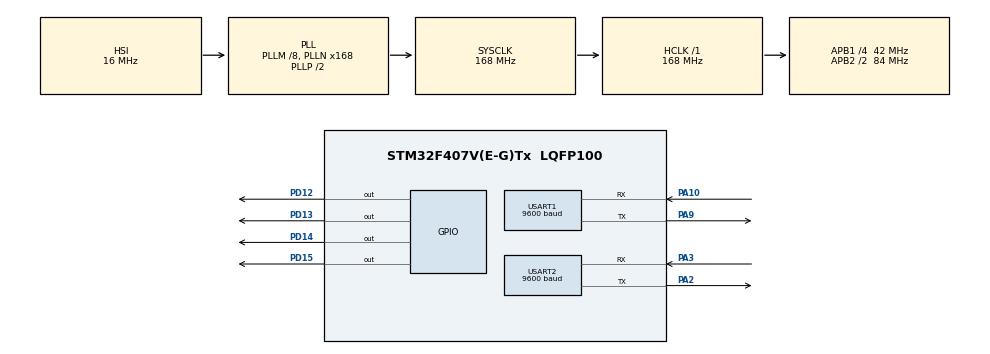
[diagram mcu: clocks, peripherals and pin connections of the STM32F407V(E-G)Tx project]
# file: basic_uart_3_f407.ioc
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Dma.Request0=USART2_RX
Dma.Request1=USART2_TX
Dma.Request2=USART1_RX
Dma.Request3=USART1_TX
Dma.USART1_RX.2.Direction=DMA_PERIPH_TO_MEMORY
Dma.USART1_RX.2.FIFOMode=DMA_FIFOMODE_DISABLE
Dma.USART1_RX.2.Instance=DMA2_Stream2
Dma.USART1_RX.2.MemDataAlignment=DMA_MDATAALIGN_BYTE
Dma.USART1_RX.2.MemInc=DMA_MINC_ENABLE
Dma.USART1_RX.2.Mode=DMA_NORMAL
Dma.USART1_RX.2.PeriphDataAlignment=DMA_PDATAALIGN_BYTE
Dma.USART1_RX.2.PeriphInc=DMA_PINC_DISABLE
Dma.USART1_RX.2.Priority=DMA_PRIORITY_MEDIUM
Dma.USART1_TX.3.Direction=DMA_MEMORY_TO_PERIPH
Dma.USART1_TX.3.FIFOMode=DMA_FIFOMODE_DISABLE
Dma.USART1_TX.3.Instance=DMA2_Stream7
Dma.USART1_TX.3.MemDataAlignment=DMA_MDATAALIGN_BYTE
Dma.USART1_TX.3.MemInc=DMA_MINC_ENABLE
Dma.USART1_TX.3.Mode=DMA_NORMAL
Dma.USART1_TX.3.PeriphDataAlignment=DMA_PDATAALIGN_BYTE
Dma.USART1_TX.3.PeriphInc=DMA_PINC_DISABLE
Dma.USART1_TX.3.Priority=DMA_PRIORITY_MEDIUM
Dma.USART2_RX.0.Direction=DMA_PERIPH_TO_MEMORY
Dma.USART2_RX.0.FIFOMode=DMA_FIFOMODE_DISABLE
Dma.USART2_RX.0.Instance=DMA1_Stream5
Dma.USART2_RX.0.MemDataAlignment=DMA_MDATAALIGN_BYTE
Dma.USART2_RX.0.MemInc=DMA_MINC_ENABLE
Dma.USART2_RX.0.Mode=DMA_NORMAL
Dma.USART2_RX.0.PeriphDataAlignment=DMA_PDATAALIGN_BYTE
Dma.USART2_RX.0.PeriphInc=DMA_PINC_DISABLE
Dma.USART2_RX.0.Priority=DMA_PRIORITY_MEDIUM
Dma.USART2_TX.1.Direction=DMA_MEMORY_TO_PERIPH
Dma.USART2_TX.1.FIFOMode=DMA_FIFOMODE_DISABLE
Dma.USART2_TX.1.Instance=DMA1_Stream6
Dma.USART2_TX.1.MemDataAlignment=DMA_MDATAALIGN_BYTE
Dma.USART2_TX.1.MemInc=DMA_MINC_ENABLE
Dma.USART2_TX.1.Mode=DMA_NORMAL
Dma.USART2_TX.1.PeriphDataAlignment=DMA_PDATAALIGN_BYTE
Dma.USART2_TX.1.PeriphInc=DMA_PINC_DISABLE
Dma.USART2_TX.1.Priority=DMA_PRIORITY_MEDIUM
Mcu.Family=STM32F4
Mcu.Name=STM32F407V(E-G)Tx
Mcu.Package=LQFP100
NVIC.DMA1_Stream5_IRQn=true\:0\:0\:false\:false\:true\:false\:true\:true
NVIC.DMA1_Stream6_IRQn=true\:0\:0\:false\:false\:true\:false\:true\:true
NVIC.DMA2_Stream2_IRQn=true\:0\:0\:false\:false\:true\:false\:true\:true
NVIC.DMA2_Stream7_IRQn=true\:0\:0\:false\:false\:true\:false\:true\:true
NVIC.PriorityGroup=NVIC_PRIORITYGROUP_4
NVIC.RCC_IRQn=true\:0\:0\:false\:false\:true\:true\:false\:true
NVIC.USART1_IRQn=true\:0\:0\:false\:false\:true\:true\:true\:true
NVIC.USART2_IRQn=true\:0\:0\:false\:false\:true\:true\:true\:true
PA10.Mode=Asynchronous
PA10.Signal=USART1_RX
PA13.Mode=Serial_Wire
PA13.Signal=SYS_JTMS-SWDIO
PA14.Mode=Serial_Wire
PA14.Signal=SYS_JTCK-SWCLK
PA2.Mode=Asynchronous
PA2.Signal=USART2_TX
PA3.Mode=Asynchronous
PA3.Signal=USART2_RX
PA9.Mode=Asynchronous
PA9.Signal=USART1_TX
PD12.Signal=GPIO_Output
PD13.Signal=GPIO_Output
PD14.Signal=GPIO_Output
PD15.Signal=GPIO_Output
PH0-OSC_IN.Mode=HSE-External-Oscillator
PH0-OSC_IN.Signal=RCC_OSC_IN
PH1-OSC_OUT.Mode=HSE-External-Oscillator
PH1-OSC_OUT.Signal=RCC_OSC_OUT
ProjectManager.HeapSize=0x200
ProjectManager.StackSize=0x400
ProjectManager.TargetToolchain=STM32CubeIDE
RCC.48MHZClocksFreq_Value=84000000
RCC.AHBFreq_Value=168000000
RCC.APB1CLKDivider=RCC_HCLK_DIV4
RCC.APB1Freq_Value=42000000
RCC.APB1TimFreq_Value=84000000
RCC.APB2CLKDivider=RCC_HCLK_DIV2
RCC.APB2Freq_Value=84000000
RCC.APB2TimFreq_Value=168000000
RCC.CortexFreq_Value=168000000
RCC.HCLKFreq_Value=168000000
RCC.HSE_VALUE=25000000
RCC.HSI_VALUE=16000000
RCC.LSE_VALUE=32768
RCC.PLLM=8
RCC.PLLN=168
RCC.SYSCLKFreq_VALUE=168000000
RCC.SYSCLKSource=RCC_SYSCLKSOURCE_PLLCLK
RCC.VCOOutputFreq_Value=336000000
USART1.BaudRate=9600
USART1.VirtualMode=VM_ASYNC
USART2.BaudRate=9600
USART2.VirtualMode=VM_ASYNC
board=custom

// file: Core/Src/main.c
/* USER CODE BEGIN Header */
/**
  ******************************************************************************
  * @file           : main.c
  * @brief          : Main program body
  ******************************************************************************
  * @attention
  *
  * Copyright (c) 2023 STMicroelectronics.
  * All rights reserved.
  *
  * This software is licensed under terms that can be found in the LICENSE file
  * in the root directory of this software component.
  * If no LICENSE file comes with this software, it is provided AS-IS.
  *
  ******************************************************************************
  */
/* USER CODE END Header */
#include "main.h"

/* USER CODE BEGIN Includes */
#include "stdbool.h"
#include <stdio.h>
#include <stdlib.h>
#include <stdbool.h>
/*
 * Buradaki kodlamada USART1 ile ilgili uzaklık ölçen sensörden verileri topluyoruz. Baudrate 9600 olarak ayarladık.
 * Ardından USART2 ile de sensörden toplanan verileri TTL modüle ilettik. Baudrate 115200 olarak çalıştık.
 *
 * Sadece interrupt ile okumayı hedefledim. 64 baytlık veriyi global_rxData değişkeninde topladım. 1 bayt
 * şeklinde datayı okumak istedim.
 * Veriler bana 4 bayt halinde(0.bayt 1.bayt 2.bayt 3.bayt) geliyor ve sonuncu bayt checksum yani kontrol baytıdır.
 * Bu eğer ilgili formüldeki koşulu sağlarsa 1.bayt ve 2.bayt daki verileri alıp mesafe(distance) hesaplıyoruz.
 * Sadece UART Transmit ile bilgileri TTL modüle yolluyoruz. Interrupta gerek yok.
 * Bilgileri alırken Interrupta gerek olduğundan dolayı Callback fonksiyonu çağırmalıyız.
 * Bayrak(flag) eski haline getirecez ki kod tıkanmasın.
 *
 */
/* USER CODE END Includes */

UART_HandleTypeDef huart1;
UART_HandleTypeDef huart2;
DMA_HandleTypeDef hdma_usart1_rx;
DMA_HandleTypeDef hdma_usart1_tx;
DMA_HandleTypeDef hdma_usart2_rx;
DMA_HandleTypeDef hdma_usart2_tx;

/* USER CODE BEGIN PV */
uint8_t global_rx_buffer[64] = "";
uint8_t global_tx_buffer[64] = "";
uint8_t global_rxData;

uint8_t counter;

uint8_t receiver_checksum;
uint16_t distance;
bool flag = false;

char text[10];
char text_new[10];

/* USER CODE END PV */

void SystemClock_Config(void);
static void MX_GPIO_Init(void);
static void MX_DMA_Init(void);
static void MX_USART2_UART_Init(void);
static void MX_USART1_UART_Init(void);

/* USER CODE BEGIN 0 */
void HAL_UART_RxCpltCallback(UART_HandleTypeDef *huart)
{
	if(huart->Instance == USART1)
	{
		global_rx_buffer[counter++] = global_rxData;
		if(counter >= 64)
		{
			counter = 0;
		}
		flag = true;
		HAL_UART_Receive_IT(&huart1, &global_rxData, 1);
	}
}

/* USER CODE END 0 */

int main(void)
{

  /* MCU Configuration--------------------------------------------------------*/

  /* Reset of all peripherals, Initializes the Flash interface and the Systick. */
  HAL_Init();

  /* Configure the system clock */
  SystemClock_Config();

  /* Initialize all configured peripherals */
  MX_GPIO_Init();
  MX_DMA_Init();
  MX_USART2_UART_Init();
  MX_USART1_UART_Init();
  /* USER CODE BEGIN 2 */
  HAL_UART_Receive_IT(&huart1, &global_rxData, 1);

  /* USER CODE END 2 */

  /* Infinite loop */
  while (1)
  {

    /* USER CODE BEGIN 3 */
	  if(flag)
	  {
		  if(counter >= 4) // 4 byte
		  {
			  receiver_checksum = (global_rx_buffer[0] + global_rx_buffer[1] + global_rx_buffer[2]) & 0x00FF;
			  if(receiver_checksum == global_rx_buffer[3])
			  {
				  distance = ((uint16_t)(global_rx_buffer[2] << 0) | (uint16_t)(global_rx_buffer[1] << 8));
				  HAL_UART_Transmit(&huart2, (uint8_t*)text_new, sprintf(text_new, "%d mm\n", distance), 100);
				  HAL_GPIO_TogglePin(GPIOD, GPIO_PIN_All);
			  }
			  counter = 0;
		  }
		  flag = false;
	  }
  }
  /* USER CODE END 3 */
}

void SystemClock_Config(void)
{
  RCC_OscInitTypeDef RCC_OscInitStruct = {0};
  RCC_ClkInitTypeDef RCC_ClkInitStruct = {0};

  /** Configure the main internal regulator output voltage
  */
  __HAL_RCC_PWR_CLK_ENABLE();
  __HAL_PWR_VOLTAGESCALING_CONFIG(PWR_REGULATOR_VOLTAGE_SCALE1);

  /** Initializes the RCC Oscillators according to the specified parameters
  * in the RCC_OscInitTypeDef structure.
  */
  RCC_OscInitStruct.OscillatorType = RCC_OSCILLATORTYPE_HSI;
  RCC_OscInitStruct.HSIState = RCC_HSI_ON;
  RCC_OscInitStruct.HSICalibrationValue = RCC_HSICALIBRATION_DEFAULT;
  RCC_OscInitStruct.PLL.PLLState = RCC_PLL_ON;
  RCC_OscInitStruct.PLL.PLLSource = RCC_PLLSOURCE_HSI;
  RCC_OscInitStruct.PLL.PLLM = 8;
  RCC_OscInitStruct.PLL.PLLN = 168;
  RCC_OscInitStruct.PLL.PLLP = RCC_PLLP_DIV2;
  RCC_OscInitStruct.PLL.PLLQ = 4;
  if (HAL_RCC_OscConfig(&RCC_OscInitStruct) != HAL_OK)
  {
    Error_Handler();
  }

  /** Initializes the CPU, AHB and APB buses clocks
  */
  RCC_ClkInitStruct.ClockType = RCC_CLOCKTYPE_HCLK|RCC_CLOCKTYPE_SYSCLK
                              |RCC_CLOCKTYPE_PCLK1|RCC_CLOCKTYPE_PCLK2;
  RCC_ClkInitStruct.SYSCLKSource = RCC_SYSCLKSOURCE_PLLCLK;
  RCC_ClkInitStruct.AHBCLKDivider = RCC_SYSCLK_DIV1;
  RCC_ClkInitStruct.APB1CLKDivider = RCC_HCLK_DIV4;
  RCC_ClkInitStruct.APB2CLKDivider = RCC_HCLK_DIV2;

  if (HAL_RCC_ClockConfig(&RCC_ClkInitStruct, FLASH_LATENCY_5) != HAL_OK)
  {
    Error_Handler();
  }
}

static void MX_USART1_UART_Init(void)
{

  huart1.Instance = USART1;
  huart1.Init.BaudRate = 9600;
  huart1.Init.WordLength = UART_WORDLENGTH_8B;
  huart1.Init.StopBits = UART_STOPBITS_1;
  huart1.Init.Parity = UART_PARITY_NONE;
  huart1.Init.Mode = UART_MODE_TX_RX;
  huart1.Init.HwFlowCtl = UART_HWCONTROL_NONE;
  huart1.Init.OverSampling = UART_OVERSAMPLING_16;
  if (HAL_UART_Init(&huart1) != HAL_OK)
  {
    Error_Handler();
  }

}

static void MX_USART2_UART_Init(void)
{

  huart2.Instance = USART2;
  huart2.Init.BaudRate = 9600;
  huart2.Init.WordLength = UART_WORDLENGTH_8B;
  huart2.Init.StopBits = UART_STOPBITS_1;
  huart2.Init.Parity = UART_PARITY_NONE;
  huart2.Init.Mode = UART_MODE_TX_RX;
  huart2.Init.HwFlowCtl = UART_HWCONTROL_NONE;
  huart2.Init.OverSampling = UART_OVERSAMPLING_16;
  if (HAL_UART_Init(&huart2) != HAL_OK)
  {
    Error_Handler();
  }

}

static void MX_DMA_Init(void)
{

  /* DMA controller clock enable */
  __HAL_RCC_DMA1_CLK_ENABLE();
  __HAL_RCC_DMA2_CLK_ENABLE();

  /* DMA interrupt init */
  /* DMA1_Stream5_IRQn interrupt configuration */
  HAL_NVIC_SetPriority(DMA1_Stream5_IRQn, 0, 0);
  HAL_NVIC_EnableIRQ(DMA1_Stream5_IRQn);
  /* DMA1_Stream6_IRQn interrupt configuration */
  HAL_NVIC_SetPriority(DMA1_Stream6_IRQn, 0, 0);
  HAL_NVIC_EnableIRQ(DMA1_Stream6_IRQn);
  /* DMA2_Stream2_IRQn interrupt configuration */
  HAL_NVIC_SetPriority(DMA2_Stream2_IRQn, 0, 0);
  HAL_NVIC_EnableIRQ(DMA2_Stream2_IRQn);
  /* DMA2_Stream7_IRQn interrupt configuration */
  HAL_NVIC_SetPriority(DMA2_Stream7_IRQn, 0, 0);
  HAL_NVIC_EnableIRQ(DMA2_Stream7_IRQn);

}

static void MX_GPIO_Init(void)
{
  GPIO_InitTypeDef GPIO_InitStruct = {0};

  /* GPIO Ports Clock Enable */
  __HAL_RCC_GPIOH_CLK_ENABLE();
  __HAL_RCC_GPIOA_CLK_ENABLE();
  __HAL_RCC_GPIOD_CLK_ENABLE();

  /*Configure GPIO pin Output Level */
  HAL_GPIO_WritePin(GPIOD, GPIO_PIN_12|GPIO_PIN_13|GPIO_PIN_14|GPIO_PIN_15, GPIO_PIN_RESET);

  /*Configure GPIO pins : PD12 PD13 PD14 PD15 */
  GPIO_InitStruct.Pin = GPIO_PIN_12|GPIO_PIN_13|GPIO_PIN_14|GPIO_PIN_15;
  GPIO_InitStruct.Mode = GPIO_MODE_OUTPUT_PP;
  GPIO_InitStruct.Pull = GPIO_NOPULL;
  GPIO_InitStruct.Speed = GPIO_SPEED_FREQ_LOW;
  HAL_GPIO_Init(GPIOD, &GPIO_InitStruct);

}

void Error_Handler(void)
{
  __disable_irq();
  while (1)
  {
  }
}
